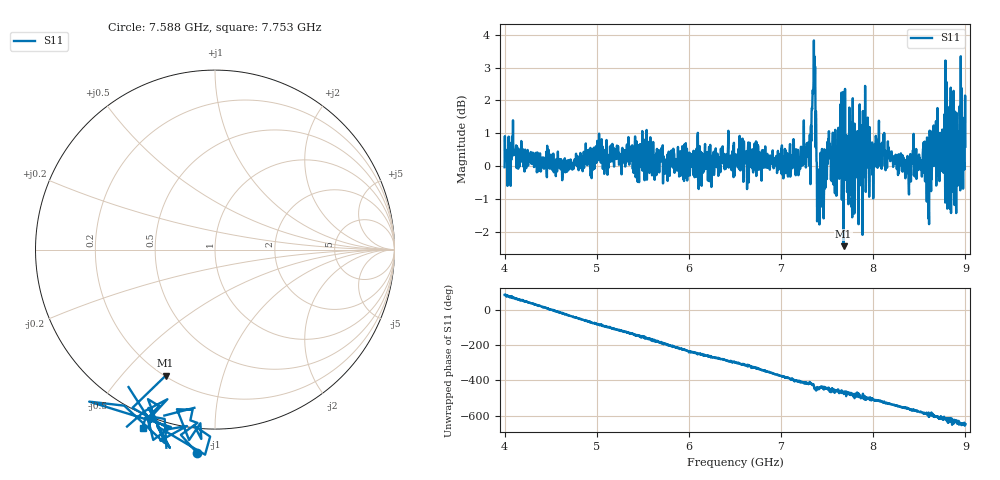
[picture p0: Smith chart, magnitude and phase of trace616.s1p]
! Created with skrf 1.8.0 (http://scikit-rf.org).
# Hz S RI R 50.0
!freq ReS11 ImS11
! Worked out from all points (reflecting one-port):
!   1601 points, 4 GHz to 9 GHz, reference 50 ohm
!   lowest |S11| = -2.4 dB at 7.678 GHz (marker M1), VSWR 7.17, Z = 10.1 - j33.1 ohm
!   phase of S11 starts at 86 deg and turns -734 deg over the sweep
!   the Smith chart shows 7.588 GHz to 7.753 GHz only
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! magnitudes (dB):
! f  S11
! 4 GHz  0.0
! 4.1 GHz  0.5
! 4.625 GHz  -0.4
! 5.25 GHz  0.3
! 5.875 GHz  0.1
! 6.5 GHz  0.0
! 7.125 GHz  0.2
! 7.294 GHz  0.6
! 7.356 GHz  3.8
! 7.412 GHz  -0.9
! 7.512 GHz  0.8
! 7.591 GHz  0.4
! 7.65 GHz  0.0
! 7.678 GHz  -2.4
! 7.75 GHz  0.0
! 7.788 GHz  0.2
! 7.828 GHz  1.0
! 7.981 GHz  -0.1
! 8.088 GHz  0.3
! 8.375 GHz  -0.2
! 8.559 GHz  0.7
! 8.603 GHz  -1.2
! 8.672 GHz  1.0
! 8.725 GHz  1.0
! 8.816 GHz  -0.9
! 8.856 GHz  -0.3
! 8.956 GHz  0.4
! 9 GHz  0.6
